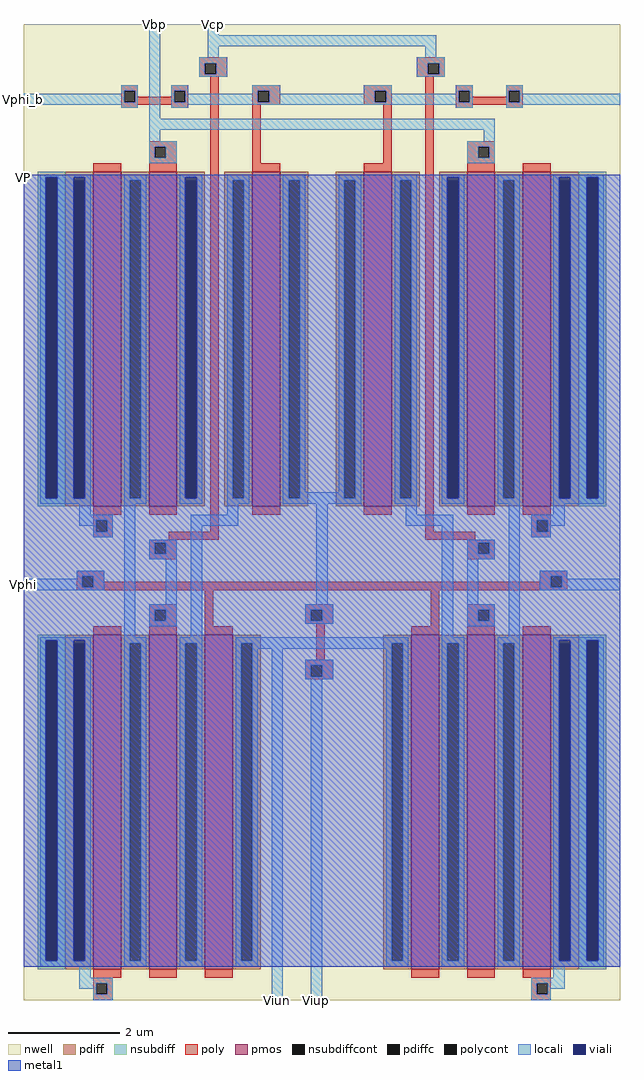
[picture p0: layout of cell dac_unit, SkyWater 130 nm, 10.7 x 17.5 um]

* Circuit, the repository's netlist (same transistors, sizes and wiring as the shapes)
* NGSPICE file created from dac_unit.ext - technology: sky130A

X0 a_1440_150# Vcp a_1070_1810# VP sky130_fd_pr__pfet_01v8 ad=1.5 pd=6.5 as=1.5 ps=6.5 w=6 l=0.5
X1 VP Vbp a_100_150# VP sky130_fd_pr__pfet_01v8 ad=3 pd=13 as=1.5 ps=6.5 w=6 l=0.5
X2 a_1440_150# Vbp VP VP sky130_fd_pr__pfet_01v8 ad=1.5 pd=6.5 as=3 ps=13 w=6 l=0.5
X3 a_300_150# Vcp a_100_150# VP sky130_fd_pr__pfet_01v8 ad=1.5 pd=6.5 as=1.5 ps=6.5 w=6 l=0.5
X4 Viup Vphi_b a_300_150# VP sky130_fd_pr__pfet_01v8 ad=3 pd=13 as=3 ps=13 w=6 l=0.5
X5 a_1070_1810# Vphi_b Viup VP sky130_fd_pr__pfet_01v8 ad=3 pd=13 as=3 ps=13 w=6 l=0.5
X6 VP VP a_1440_150# VP sky130_fd_pr__pfet_01v8 ad=3 pd=13 as=1.5 ps=6.5 w=6 l=0.5
X7 a_100_150# VP VP VP sky130_fd_pr__pfet_01v8 ad=1.5 pd=6.5 as=3 ps=13 w=6 l=0.5
X8 a_1070_1810# Vphi Viun VP sky130_fd_pr__pfet_01v8 ad=1.5 pd=6.5 as=3 ps=13 w=6 l=0.5
X9 a_100_150# VP VP VP sky130_fd_pr__pfet_01v8 ad=1.5 pd=6.5 as=3 ps=13 w=6 l=0.5
X10 Viun Vphi a_300_150# VP sky130_fd_pr__pfet_01v8 ad=3 pd=13 as=1.5 ps=6.5 w=6 l=0.5
X11 VP VP a_1440_150# VP sky130_fd_pr__pfet_01v8 ad=3 pd=13 as=1.5 ps=6.5 w=6 l=0.5

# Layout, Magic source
magic
tech sky130A
<< nwell >>
rect -125 20 945 1770
<< pmos >>
rect 0 905 50 1505
rect 100 905 150 1505
rect 285 905 335 1505
rect 485 905 535 1505
rect 670 905 720 1505
rect 770 905 820 1505
rect 0 75 50 675
rect 100 75 150 675
rect 200 75 250 675
rect 570 75 620 675
rect 670 75 720 675
rect 770 75 820 675
<< pdiff >>
rect -50 1490 0 1505
rect -50 920 -35 1490
rect -15 920 0 1490
rect -50 905 0 920
rect 50 1490 100 1505
rect 50 920 65 1490
rect 85 920 100 1490
rect 50 905 100 920
rect 150 1490 200 1505
rect 150 920 165 1490
rect 185 920 200 1490
rect 150 905 200 920
rect 235 1490 285 1505
rect 235 920 250 1490
rect 270 920 285 1490
rect 235 905 285 920
rect 335 1490 385 1505
rect 335 920 350 1490
rect 370 920 385 1490
rect 335 905 385 920
rect 435 1490 485 1505
rect 435 920 450 1490
rect 470 920 485 1490
rect 435 905 485 920
rect 535 1490 585 1505
rect 535 920 550 1490
rect 570 920 585 1490
rect 535 905 585 920
rect 620 1490 670 1505
rect 620 920 635 1490
rect 655 920 670 1490
rect 620 905 670 920
rect 720 1490 770 1505
rect 720 920 735 1490
rect 755 920 770 1490
rect 720 905 770 920
rect 820 1490 870 1505
rect 820 920 835 1490
rect 855 920 870 1490
rect 820 905 870 920
rect -50 660 0 675
rect -50 90 -35 660
rect -15 90 0 660
rect -50 75 0 90
rect 50 660 100 675
rect 50 90 65 660
rect 85 90 100 660
rect 50 75 100 90
rect 150 660 200 675
rect 150 90 165 660
rect 185 90 200 660
rect 150 75 200 90
rect 250 660 300 675
rect 250 90 265 660
rect 285 90 300 660
rect 520 660 570 675
rect 250 75 300 90
rect 520 90 535 660
rect 555 90 570 660
rect 520 75 570 90
rect 620 660 670 675
rect 620 90 635 660
rect 655 90 670 660
rect 620 75 670 90
rect 720 660 770 675
rect 720 90 735 660
rect 755 90 770 660
rect 720 75 770 90
rect 820 660 870 675
rect 820 90 835 660
rect 855 90 870 660
rect 820 75 870 90
<< pdiffc >>
rect -35 920 -15 1490
rect 65 920 85 1490
rect 165 920 185 1490
rect 250 920 270 1490
rect 350 920 370 1490
rect 450 920 470 1490
rect 550 920 570 1490
rect 635 920 655 1490
rect 735 920 755 1490
rect 835 920 855 1490
rect -35 90 -15 660
rect 65 90 85 660
rect 165 90 185 660
rect 265 90 285 660
rect 535 90 555 660
rect 635 90 655 660
rect 735 90 755 660
rect 835 90 855 660
<< nsubdiff >>
rect -100 1495 -50 1505
rect -100 920 -85 1495
rect -65 920 -50 1495
rect -100 905 -50 920
rect 870 1495 920 1505
rect 870 920 885 1495
rect 905 920 920 1495
rect 870 905 920 920
rect -100 665 -50 675
rect -100 90 -85 665
rect -65 90 -50 665
rect -100 75 -50 90
rect 870 665 920 675
rect 870 90 885 665
rect 905 90 920 665
rect 870 75 920 90
<< nsubdiffcont >>
rect -85 920 -65 1495
rect 885 920 905 1495
rect -85 90 -65 665
rect 885 90 905 665
<< poly >>
rect 190 1700 240 1710
rect 190 1680 200 1700
rect 220 1680 240 1700
rect 190 1675 240 1680
rect 580 1700 630 1710
rect 580 1680 600 1700
rect 620 1680 630 1700
rect 580 1675 630 1680
rect 50 1650 80 1660
rect 50 1630 55 1650
rect 75 1640 80 1650
rect 140 1650 170 1660
rect 140 1640 145 1650
rect 75 1630 145 1640
rect 165 1630 170 1650
rect 50 1625 170 1630
rect 50 1620 80 1625
rect 140 1620 170 1625
rect 100 1550 150 1560
rect 100 1530 110 1550
rect 130 1530 150 1550
rect 0 1505 50 1520
rect 100 1505 150 1530
rect 0 890 50 905
rect 100 890 150 905
rect 0 880 35 890
rect 0 860 5 880
rect 25 860 35 880
rect 210 860 225 1675
rect 285 1650 335 1660
rect 285 1630 295 1650
rect 315 1630 335 1650
rect 285 1625 335 1630
rect 485 1650 535 1660
rect 485 1630 505 1650
rect 525 1630 535 1650
rect 485 1625 535 1630
rect 285 1520 300 1625
rect 520 1520 535 1625
rect 285 1505 335 1520
rect 485 1505 535 1520
rect 285 890 335 905
rect 485 890 535 905
rect 0 850 35 860
rect 135 845 225 860
rect 595 860 610 1675
rect 650 1650 680 1660
rect 650 1630 655 1650
rect 675 1640 680 1650
rect 740 1650 770 1660
rect 740 1640 745 1650
rect 675 1630 745 1640
rect 765 1630 770 1650
rect 650 1625 770 1630
rect 650 1620 680 1625
rect 740 1620 770 1625
rect 670 1550 720 1560
rect 670 1530 690 1550
rect 710 1530 720 1550
rect 670 1505 720 1530
rect 770 1505 820 1520
rect 670 890 720 905
rect 770 890 820 905
rect 785 880 820 890
rect 785 860 795 880
rect 815 860 820 880
rect 595 845 685 860
rect 785 850 820 860
rect 100 840 150 845
rect 100 820 110 840
rect 130 820 150 840
rect 100 810 150 820
rect 670 840 720 845
rect 670 820 690 840
rect 710 820 720 840
rect 670 810 720 820
rect -30 780 20 790
rect -30 760 -20 780
rect 0 770 20 780
rect 800 780 850 790
rect 800 770 820 780
rect 0 760 820 770
rect 840 760 850 780
rect -30 755 850 760
rect 100 720 150 730
rect 100 700 110 720
rect 130 700 150 720
rect 0 675 50 690
rect 100 675 150 700
rect 200 690 215 755
rect 380 720 430 730
rect 380 700 390 720
rect 410 700 430 720
rect 380 695 430 700
rect 200 675 250 690
rect 400 630 415 695
rect 605 690 620 755
rect 570 675 620 690
rect 670 720 720 730
rect 670 700 690 720
rect 710 700 720 720
rect 670 675 720 700
rect 770 675 820 690
rect 380 620 430 630
rect 380 600 390 620
rect 410 600 430 620
rect 380 595 430 600
rect 0 60 50 75
rect 100 60 150 75
rect 200 60 250 75
rect 570 60 620 75
rect 670 60 720 75
rect 770 60 820 75
rect 0 50 35 60
rect 0 30 5 50
rect 25 30 35 50
rect 0 20 35 30
rect 785 50 820 60
rect 785 30 795 50
rect 815 30 820 50
rect 785 20 820 30
<< polycont >>
rect 200 1680 220 1700
rect 600 1680 620 1700
rect 55 1630 75 1650
rect 145 1630 165 1650
rect 110 1530 130 1550
rect 5 860 25 880
rect 295 1630 315 1650
rect 505 1630 525 1650
rect 655 1630 675 1650
rect 745 1630 765 1650
rect 690 1530 710 1550
rect 795 860 815 880
rect 110 820 130 840
rect 690 820 710 840
rect -20 760 0 780
rect 820 760 840 780
rect 110 700 130 720
rect 390 700 410 720
rect 690 700 710 720
rect 390 600 410 620
rect 5 30 25 50
rect 795 30 815 50
<< locali >>
rect 50 1650 80 1660
rect 50 1645 55 1650
rect -125 1630 55 1645
rect 75 1630 80 1650
rect -125 1625 80 1630
rect 50 1620 80 1625
rect 100 1600 120 1770
rect 205 1750 225 1770
rect 205 1730 615 1750
rect 205 1710 225 1730
rect 595 1710 615 1730
rect 190 1700 240 1710
rect 190 1680 200 1700
rect 220 1680 240 1700
rect 190 1675 240 1680
rect 580 1700 630 1710
rect 580 1680 600 1700
rect 620 1680 630 1700
rect 580 1675 630 1680
rect 140 1650 170 1660
rect 140 1630 145 1650
rect 165 1645 170 1650
rect 285 1650 335 1660
rect 285 1645 295 1650
rect 165 1630 295 1645
rect 315 1645 335 1650
rect 485 1650 535 1660
rect 485 1645 505 1650
rect 315 1630 505 1645
rect 525 1645 535 1650
rect 650 1650 680 1660
rect 650 1645 655 1650
rect 525 1630 655 1645
rect 675 1630 680 1650
rect 140 1625 680 1630
rect 140 1620 170 1625
rect 650 1620 680 1625
rect 740 1650 770 1660
rect 740 1630 745 1650
rect 765 1645 770 1650
rect 765 1630 945 1645
rect 740 1625 945 1630
rect 740 1620 770 1625
rect 100 1580 720 1600
rect 100 1560 120 1580
rect 700 1560 720 1580
rect 100 1550 150 1560
rect 100 1530 110 1550
rect 130 1530 150 1550
rect 100 1520 150 1530
rect 670 1550 720 1560
rect 670 1530 690 1550
rect 710 1530 720 1550
rect 670 1520 720 1530
rect -95 1495 -5 1500
rect -95 920 -85 1495
rect -65 920 -35 1495
rect -15 920 -5 1495
rect -95 910 -5 920
rect -25 890 -5 910
rect 55 1490 95 1500
rect 55 920 65 1490
rect 85 920 95 1490
rect 55 910 95 920
rect 155 1495 195 1500
rect 155 920 165 1495
rect 185 920 195 1495
rect 155 910 195 920
rect 240 1490 280 1500
rect 240 920 250 1490
rect 270 920 280 1490
rect 240 910 280 920
rect 340 1490 380 1500
rect 340 920 350 1490
rect 370 930 380 1490
rect 440 1490 480 1500
rect 440 930 450 1490
rect 370 920 450 930
rect 470 920 480 1490
rect 340 910 480 920
rect 540 1490 580 1500
rect 540 920 550 1490
rect 570 920 580 1490
rect 540 910 580 920
rect 625 1495 665 1500
rect 625 920 635 1495
rect 655 920 665 1495
rect 625 910 665 920
rect 725 1490 765 1500
rect 725 920 735 1490
rect 755 920 765 1490
rect 725 910 765 920
rect -25 880 35 890
rect -25 870 5 880
rect 0 860 5 870
rect 25 860 35 880
rect 0 850 35 860
rect -30 780 20 790
rect -30 775 -20 780
rect -125 760 -20 775
rect 0 760 20 780
rect -125 755 20 760
rect 55 670 75 910
rect 240 890 260 910
rect 175 870 260 890
rect 100 840 150 845
rect 100 820 110 840
rect 130 820 150 840
rect 100 810 150 820
rect 130 730 150 810
rect 100 720 150 730
rect 100 700 110 720
rect 130 700 150 720
rect 100 690 150 700
rect 175 670 195 870
rect 400 730 420 910
rect 560 890 580 910
rect 560 870 645 890
rect 380 720 430 730
rect 380 700 390 720
rect 410 700 430 720
rect 380 695 430 700
rect 625 670 645 870
rect 670 840 720 845
rect 670 820 690 840
rect 710 820 720 840
rect 670 810 720 820
rect 670 730 690 810
rect 670 720 720 730
rect 670 700 690 720
rect 710 700 720 720
rect 670 690 720 700
rect 745 670 765 910
rect 825 1495 915 1500
rect 825 920 835 1495
rect 855 920 885 1495
rect 905 920 915 1495
rect 825 910 915 920
rect 825 890 845 910
rect 785 880 845 890
rect 785 860 795 880
rect 815 870 845 880
rect 815 860 820 870
rect 785 850 820 860
rect 800 780 850 790
rect 800 760 820 780
rect 840 775 850 780
rect 840 760 945 775
rect 800 755 945 760
rect -95 665 -5 670
rect -95 90 -85 665
rect -65 90 -35 665
rect -15 90 -5 665
rect -95 80 -5 90
rect 55 660 95 670
rect 55 90 65 660
rect 85 90 95 660
rect 55 80 95 90
rect 155 660 195 670
rect 155 90 165 660
rect 185 90 195 660
rect 155 80 195 90
rect 255 660 565 670
rect 255 90 265 660
rect 285 650 535 660
rect 285 90 295 650
rect 255 80 295 90
rect -25 60 -5 80
rect -25 50 35 60
rect -25 40 5 50
rect 0 30 5 40
rect 25 30 35 50
rect 0 20 35 30
rect 320 20 340 650
rect 380 620 430 630
rect 380 600 390 620
rect 410 600 430 620
rect 380 595 430 600
rect 390 20 410 595
rect 525 90 535 650
rect 555 90 565 660
rect 525 80 565 90
rect 625 660 665 670
rect 625 90 635 660
rect 655 90 665 660
rect 625 80 665 90
rect 725 660 765 670
rect 725 90 735 660
rect 755 90 765 660
rect 725 80 765 90
rect 825 665 915 670
rect 825 90 835 665
rect 855 90 885 665
rect 905 90 915 665
rect 825 80 915 90
rect 825 60 845 80
rect 785 50 845 60
rect 785 30 795 50
rect 815 40 845 50
rect 815 30 820 40
rect 785 20 820 30
<< viali >>
rect -85 920 -65 1495
rect -35 1490 -15 1495
rect -35 920 -15 1490
rect 165 1490 185 1495
rect 165 920 185 1490
rect 635 1490 655 1495
rect 635 920 655 1490
rect 835 1490 855 1495
rect 835 920 855 1490
rect 885 920 905 1495
rect -85 90 -65 665
rect -35 660 -15 665
rect -35 90 -15 660
rect 835 660 855 665
rect 835 90 855 660
rect 885 90 905 665
<< metal1 >>
rect -125 1495 945 1500
rect -125 920 -85 1495
rect -65 920 -35 1495
rect -15 920 165 1495
rect 185 920 635 1495
rect 655 920 835 1495
rect 855 920 885 1495
rect 905 920 945 1495
rect -125 665 945 920
rect -125 90 -85 665
rect -65 90 -35 665
rect -15 90 835 665
rect 855 90 885 665
rect 905 90 945 665
rect -125 80 945 90
<< labels >>
rlabel locali -125 765 -125 765 7 Vphi
port 1 w
rlabel locali -125 1635 -125 1635 7 Vphi_b
port 2 w
rlabel locali 110 1770 110 1770 1 Vbp
port 3 n
rlabel locali 215 1770 215 1770 1 Vcp
port 4 n
rlabel locali 330 20 330 20 5 Viun
port 5 s
rlabel locali 400 20 400 20 5 Viup
port 6 s
rlabel metal1 -125 1495 -125 1495 7 VP
port 7 w
<< end >>
